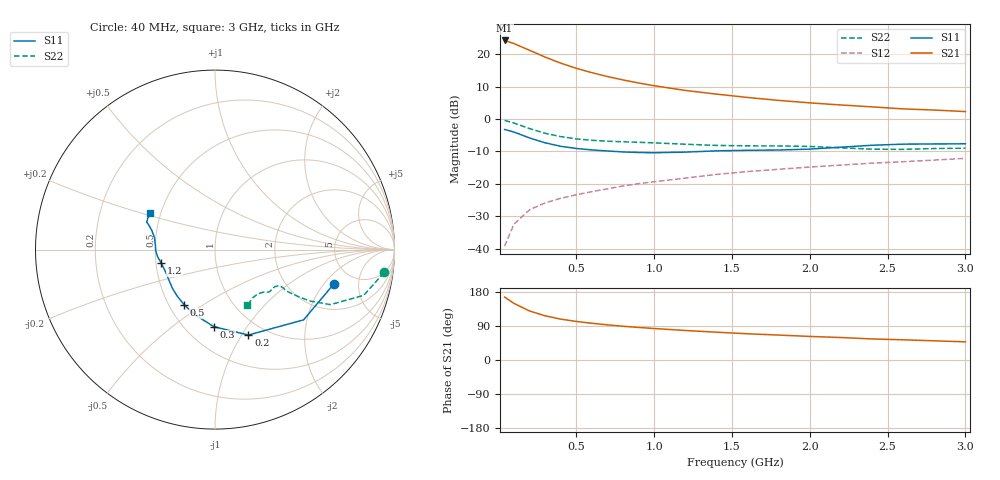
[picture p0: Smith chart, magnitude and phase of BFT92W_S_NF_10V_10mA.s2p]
! Filename:  BFT92WH.S2P  Version:  4.0
! Philips part #: BFT92W  Date: Jun 1994
! Bias condition: Vce=10V, Ic=10mA
#  MHz  S  MA  R  50
! Freq  S11  S21  S12  S22  !GUM [dB]
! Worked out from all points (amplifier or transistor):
!   21 points, 40 MHz to 3 GHz, reference 50 ohm
!   highest |S21| = 24.2 dB at 40 MHz (marker M1)
!   |S21| within 3 dB of that: start of sweep to 199.1 MHz
!   unconditionally stable (mu >= 1): 677.5 MHz to end of sweep
!   at 300 MHz: K = 0.68, MSG = 22.5 dB, |S12| = -25.8 dB
!   at 1 GHz: K = 1.11, MAG = 12.7 dB, |S12| = -19.3 dB
!   at 3 GHz: K = 1.15, MAG = 4.9 dB, |S12| = -12.1 dB
!   lowest NFmin = 3.00 dB at 500 MHz
!   S11 on the Smith chart (normalised r, x): 40 MHz: 3.50, -2.54; 200 MHz: 0.83, -1.07; 300 MHz: 0.68, -0.72; 500 MHz: 0.60, -0.42; 1.2 GHz: 0.53, -0.09; 3 GHz: 0.44, +0.21
40  0.69 -16.0  16.21 166.0  0.011 81.3  0.951 -7.7
100  0.63 -38.4  14.53 149.4  0.024 71.7  0.867 -17.1
200  0.511 -68.6  11.45 129.4  0.04 63.2  0.712 -25.5
300  0.43 -90.7  8.994 116.6  0.051 60.1  0.603 -28.4
400  0.38 -107.1  7.26 107.9  0.06 60.0  0.536 -29.4
500  0.352 -119.2  6.046 101.8  0.068 60.5  0.494 -29.8
600  0.334 -128.9  5.176 96.9  0.076 61.5  0.47 -30.0
700  0.322 -136.8  4.513 92.7  0.084 62.6  0.455 -30.0
800  0.311 -143.6  4.002 89.1  0.093 63.4  0.446 -29.8
900  0.305 -150.0  3.589 85.9  0.101 64.0  0.438 -29.4
1000  0.302 -155.9  3.257 83.1  0.108 64.4  0.429 -29.2
1200  0.309 -166.1  2.757 77.9  0.123 65.2  0.409 -29.5
1400  0.323 -173.3  2.42 73.4  0.14 65.7  0.392 -31.8
1600  0.33 -178.7  2.148 69.2  0.155 65.7  0.386 -35.3
1800  0.333 175.8  1.935 65.8  0.168 66.3  0.385 -37.4
2000  0.344 168.7  1.773 62.2  0.182 66.8  0.378 -38.8
2200  0.368 163.1  1.645 59.3  0.195 67.1  0.36 -41.1
2400  0.394 159.6  1.538 55.6  0.209 67.3  0.343 -46.1
2600  0.41 158.1  1.431 53.3  0.22 67.3  0.341 -52.4
2800  0.413 155.2  1.374 50.6  0.233 68.0  0.351 -56.8
3000  0.415 150.8  1.302 47.9  0.248 68.4  0.355 -59.5
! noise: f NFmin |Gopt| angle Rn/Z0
500  3  0.29  43.1  0.66
1000  3.7  0.28  78.7  0.67
